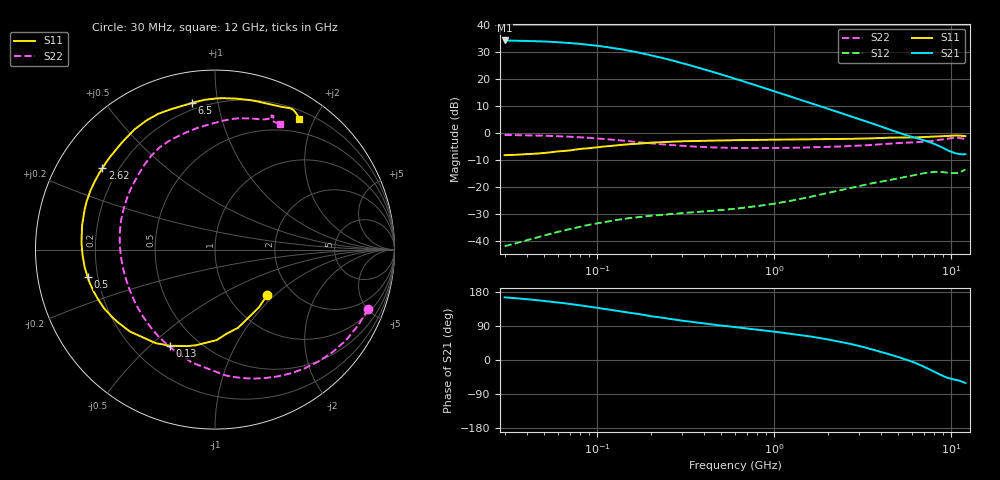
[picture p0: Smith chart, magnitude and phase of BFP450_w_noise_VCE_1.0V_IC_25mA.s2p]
! (c) 2015  Infineon Technologies AG, Munich
! Infineon Technologies  Discrete & RF Semiconductors
! BFP450
! VCE =  1.0 V,  IC =  25 mA
! Common Emitter S-Parameters:  Nov 2015
# GHz  S  MA  R  50
!  f  S11  S21  S12  S22
! GHz  MAG  ANG  MAG  ANG  MAG  ANG  MAG  ANG
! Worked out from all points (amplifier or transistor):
!   239 points, 30 MHz to 12 GHz, reference 50 ohm
!   highest |S21| = 34.2 dB at 30 MHz (marker M1)
!   |S21| within 3 dB of that: start of sweep to 128.8 MHz
!   unconditionally stable (mu >= 1): 1.467 GHz to end of sweep
!   at 300 MHz: K = 0.36, MSG = 27.8 dB, |S12| = -29.7 dB
!   at 1.88 GHz: K = 1.07, MAG = 14.5 dB, |S12| = -22.7 dB
!   at 12 GHz: K = 1.10, MAG = 0.9 dB, |S12| = -13.6 dB
!   lowest NFmin = 1.19 dB at 450 MHz
!   S11 on the Smith chart (normalised r, x): 30 MHz: 1.49, -0.90; 130 MHz: 0.35, -0.58; 500 MHz: 0.16, -0.10; 2.62 GHz: 0.14, +0.32; 6.5 GHz: 0.16, +0.84; 12 GHz: 0.30, +1.80
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0.03  0.3862 -41.4  51.29 165.2  0.008 78.6  0.9151 -21.2
0.04  0.4044 -52.9  50.28 160.5  0.0103 75.1  0.9022 -28.0
0.05  0.4236 -64.3  49.11 155.9  0.0126 70.9  0.8876 -34.7
0.06  0.4542 -73.6  47.57 152.0  0.0147 67.0  0.8693 -41.1
0.07  0.4732 -82.2  45.93 147.8  0.0166 64.1  0.8491 -47.2
0.085  0.5117 -92.1  43.42 142.6  0.0191 59.6  0.8182 -55.6
0.11  0.5596 -106.0  39.28 134.7  0.0224 53.7  0.7696 -68.3
0.13  0.5914 -114.9  36.14 129.4  0.0246 49.9  0.7344 -77.3
0.15  0.6173 -122.4  33.29 124.8  0.0263 46.6  0.7033 -85.2
0.2  0.6581 -136.1  27.3 115.6  0.0292 41.3  0.6431 -101.4
0.24  0.6761 -143.3  23.8 110.6  0.0308 38.8  0.6088 -111.1
0.3  0.6986 -151.9  19.58 103.9  0.0327 36.4  0.5765 -123.5
0.34  0.7061 -156.1  17.52 100.8  0.0337 35.7  0.5615 -129.7
0.4  0.7161 -161.4  15.01 96.4  0.0352 35.1  0.5467 -137.7
0.5  0.7259 -167.8  12.05 90.9  0.0373 35.2  0.5323 -147.8
0.6  0.7331 -172.6  10.02 86.6  0.0394 36.0  0.5257 -155.2
1  0.7465 174.5  5.861 74.7  0.049 39.5  0.5243 -173.7
1.64  0.7619 160.9  3.468 61.3  0.0667 40.7  0.5395 169.2
2.62  0.7739 144.1  2.094 43.6  0.0937 35.2  0.5675 149.9
4.5  0.8148 117.9  1.142 14.3  0.1344 18.5  0.6333 123.9
6.5  0.8278 98.9  0.784 -11.0  0.1706 0.3  0.6761 102.2
12  0.8683 57.2  0.403 -60.6  0.2092 -42.3  0.7866 62.8
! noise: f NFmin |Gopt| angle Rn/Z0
0.45  1.19  0.39  -177  0.07
0.9  1.26  0.44  -174  0.06
1.9  1.38  0.51  -159  0.08
2.4  1.51  0.54  -149  0.1
